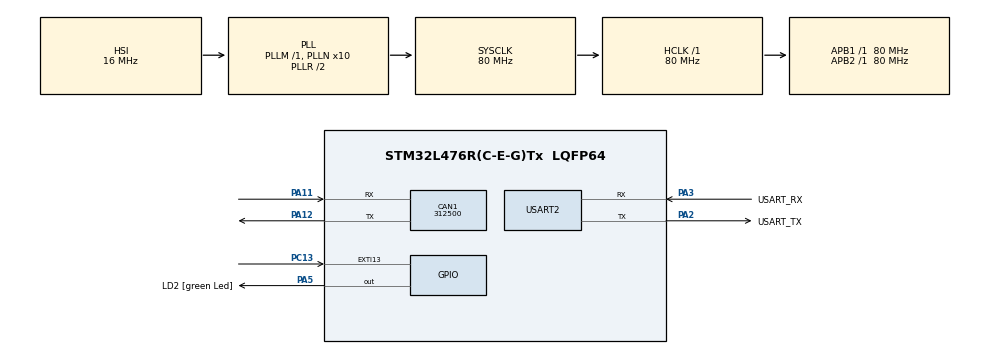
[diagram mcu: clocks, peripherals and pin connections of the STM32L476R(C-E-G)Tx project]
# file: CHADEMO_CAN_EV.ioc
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CAN1.BS1=CAN_BS1_13TQ
CAN1.BS2=CAN_BS2_2TQ
CAN1.CalculateBaudRate=312500
CAN1.CalculateTimeBit=3200
CAN1.CalculateTimeQuantum=200.0
Mcu.Family=STM32L4
Mcu.Name=STM32L476R(C-E-G)Tx
Mcu.Package=LQFP64
NVIC.CAN1_RX0_IRQn=true\:0\:0\:false\:false\:true\:true\:true\:true
NVIC.CAN1_RX1_IRQn=true\:0\:0\:false\:false\:true\:true\:true\:true
NVIC.CAN1_SCE_IRQn=true\:0\:0\:false\:false\:true\:true\:true\:true
NVIC.EXTI15_10_IRQn=true\:0\:0\:false\:false\:true\:true\:true\:true
NVIC.PriorityGroup=NVIC_PRIORITYGROUP_4
NVIC.USART2_IRQn=true\:0\:0\:false\:false\:true\:true\:true\:true
PA11.Mode=CAN_Activate
PA11.Signal=CAN1_RX
PA12.Mode=CAN_Activate
PA12.Signal=CAN1_TX
PA13\ (JTMS-SWDIO).GPIO_Label=TMS
PA13\ (JTMS-SWDIO).Mode=Serial_Wire
PA13\ (JTMS-SWDIO).Signal=SYS_JTMS-SWDIO
PA14\ (JTCK-SWCLK).GPIO_Label=TCK
PA14\ (JTCK-SWCLK).Mode=Serial_Wire
PA14\ (JTCK-SWCLK).Signal=SYS_JTCK-SWCLK
PA2.GPIO_Label=USART_TX
PA2.GPIO_Mode=GPIO_MODE_AF_PP
PA2.GPIO_PuPd=GPIO_NOPULL
PA2.GPIO_Speed=GPIO_SPEED_FREQ_VERY_HIGH
PA2.Mode=Asynchronous
PA2.Signal=USART2_TX
PA3.GPIO_Label=USART_RX
PA3.GPIO_Mode=GPIO_MODE_AF_PP
PA3.GPIO_PuPd=GPIO_NOPULL
PA3.GPIO_Speed=GPIO_SPEED_FREQ_VERY_HIGH
PA3.Mode=Asynchronous
PA3.Signal=USART2_RX
PA5.GPIO_Label=LD2 [green Led]
PA5.GPIO_ModeDefaultOutputPP=GPIO_MODE_OUTPUT_PP
PA5.GPIO_PuPd=GPIO_NOPULL
PA5.GPIO_Speed=GPIO_SPEED_FREQ_LOW
PA5.Signal=GPIO_Output
PB3\ (JTDO-TRACESWO).GPIO_Label=SWO
PB3\ (JTDO-TRACESWO).Signal=SYS_JTDO-SWO
PC13.GPIO_ModeDefaultEXTI=GPIO_MODE_IT_RISING
PC13.Signal=GPXTI13
PC14-OSC32_IN\ (PC14).Mode=LSE-External-Oscillator
PC14-OSC32_IN\ (PC14).Signal=RCC_OSC32_IN
PC15-OSC32_OUT\ (PC15).Mode=LSE-External-Oscillator
PC15-OSC32_OUT\ (PC15).Signal=RCC_OSC32_OUT
PH0-OSC_IN\ (PH0).Signal=RCC_OSC_IN
PH1-OSC_OUT\ (PH1).Signal=RCC_OSC_OUT
ProjectManager.HeapSize=0x200
ProjectManager.StackSize=0x400
ProjectManager.TargetToolchain=STM32CubeIDE
RCC.ADCFreq_Value=64000000
RCC.AHBFreq_Value=80000000
RCC.APB1Freq_Value=80000000
RCC.APB1TimFreq_Value=80000000
RCC.APB2Freq_Value=80000000
RCC.APB2TimFreq_Value=80000000
RCC.CortexFreq_Value=80000000
RCC.HCLKFreq_Value=80000000
RCC.HSE_VALUE=8000000
RCC.HSI_VALUE=16000000
RCC.MSI_VALUE=4000000
RCC.PLLN=10
RCC.PLLSourceVirtual=RCC_PLLSOURCE_HSI
RCC.PREFETCH_ENABLE=1
RCC.SYSCLKFreq_VALUE=80000000
RCC.SYSCLKSource=RCC_SYSCLKSOURCE_PLLCLK
RCC.USBFreq_Value=64000000
RCC.VCOOutputFreq_Value=160000000
USART2.VirtualMode-Asynchronous=VM_ASYNC
board=NUCLEO-L476RG

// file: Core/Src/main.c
/* USER CODE BEGIN Header */
/**
  ******************************************************************************
  * @file           : main.c
  * @brief          : Main program body
  ******************************************************************************
  * @attention
  *
  * Copyright (c) 2026 STMicroelectronics.
  * All rights reserved.
  *
  * This software is licensed under terms that can be found in the LICENSE file
  * in the root directory of this software component.
  * If no LICENSE file comes with this software, it is provided AS-IS.
  *
  ******************************************************************************
  */
/* USER CODE END Header */
#include "main.h"
#include "can.h"
#include "usart.h"
#include "gpio.h"

/* USER CODE BEGIN Includes */
#include <stdio.h>
#include<stdlib.h>
#include <string.h>
/* USER CODE END Includes */

/* USER CODE BEGIN PV */
//Parametre de la borne
uint16_t Available_output_voltage_min;      // V
uint16_t Available_output_voltage_max;      // V
uint16_t Available_output_voltage;      // V
uint16_t Threshold_voltage;  //V
uint16_t Available_output_current_min;      // A
uint16_t Available_output_current_max;
uint16_t Available_output_current=0;  //
uint16_t Present_output_current;
uint16_t Present_output_voltage;

uint8_t Battery_incompatibility =0;
uint8_t Welding_detection =1;
volatile uint8_t can_rx_flag = 0;
//uint8_t rxData[32];
uint8_t rxbuf[255];
uint8_t txbuf[255];
// differentes états
typedef enum
{
    EV_STATE_IDLE = 0,
    EV_STATE_CABLE_DETECTED,
    EV_STATE_HANDSHAKE,
    EV_STATE_PRECHARGE,
    EV_STATE_CHARGING,
    EV_STATE_STOP

} EV_State_t;
EV_State_t ev_state = EV_STATE_IDLE;
//Parametre de la voiture
uint16_t battery_voltage_min = 0;      // V
uint16_t battery_voltage_max = 600;      // V
uint16_t battery_voltage = 360;      // V
uint16_t requested_current_max=200; // A
uint16_t requested_current;      // A
uint8_t soc=50;               // %
uint8_t charger_ready = 0;

uint8_t Maximum_charging_time;
uint8_t Estimated_charging_time;
uint16_t Total_capacity_of_battery;
uint16_t Target_battery_voltage;

uint8_t Battery_voltage_deviation_error =0;
uint8_t High_battery_temperature =0;
uint8_t Battery_current_deviation_error = 0;
uint8_t Battery_undervoltage =0;
uint8_t Battery_overvoltage =0;

uint8_t Normal_stop_request=0;
uint8_t Vehicle_status=0;
uint8_t Charging_system_error=0;
uint8_t Vehicle_shift_position=1;
uint8_t Vehicle_charging_enabled=0;

uint8_t Charging_stop_control = 1; // 0: operating, 1: during stop control or stop condition
uint8_t Energizing_state = 0;      // 0: disable, 1: enable
uint8_t Charger_error = 0;         // 0: normal, 1: error
uint8_t Charger_status = 0;		   // 0: standby, 1: charging
uint8_t Remaining_charging_time =0; // in the unit of 1 min

int Cable_Detected=0;

// Ajout des flags et buffers pour le traitement hors ISR
volatile uint8_t flag_msg_108 = 0;
volatile uint8_t flag_msg_109 = 0;
uint8_t rxData_108[8];
uint8_t rxData_109[8];

/* USER CODE END PV */

void SystemClock_Config(void);
/* USER CODE BEGIN PFP */
void CAN_Filter_Config(void);
void HAL_CAN_RxFifo0MsgPendingCallback(CAN_HandleTypeDef *hcan);
void HAL_GPIO_EXTI_Callback(uint16_t GPIO_Pin);
void EV_send_parameters(uint16_t requested_current,uint16_t battery_voltage_min, uint16_t battery_voltage_max, uint8_t soc);
void EV_charge_time_soc(uint8_t Maximum_charging_time,uint8_t Estimated_charging_time, uint16_t Total_capacity_of_battery);
void EV_charge_control(void);
void EV_StateMachine(void);
void traitement_msg_108(void);
void traitement_msg_109(void);
/* USER CODE END PFP */

/* USER CODE BEGIN 0 */
/* ----------------------------------------------------------
   STATION CAPABILITY LIMITS
   Battery MC checks MSG108 against these
   ---------------------------------------------------------- */
#define STATION_MAX_VOLTAGE   420
#define STATION_MIN_VOLTAGE   200
#define STATION_MAX_CURRENT   100

/* ----------------------------------------------------------
   UART RX — interrupt driven
   ---------------------------------------------------------- */
#define RX_BUF_SIZE 128

static uint8_t          rx_byte;
static char             rx_buf[RX_BUF_SIZE];
static uint16_t         rx_idx        = 0;
static char             rx_line[RX_BUF_SIZE];
static volatile uint8_t rx_line_ready = 0;

void UART_RX_Start(void)
{
    rx_idx        = 0;
    rx_line_ready = 0;
    HAL_UART_Receive_IT(&huart2, &rx_byte, 1);
}

void HAL_UART_RxCpltCallback(UART_HandleTypeDef *huart)
{
    if (huart->Instance != USART2) return;

    char c = (char)rx_byte;

    if (c == '\n')
    {
        if (rx_idx > 0 && rx_buf[rx_idx - 1] == '\r')
            rx_idx--;
        rx_buf[rx_idx] = '\0';
        strncpy(rx_line, rx_buf, RX_BUF_SIZE - 1);
        rx_line[RX_BUF_SIZE - 1] = '\0';
        rx_idx        = 0;
        rx_line_ready = 1;
    }
    else
    {
        if (rx_idx < RX_BUF_SIZE - 1)
            rx_buf[rx_idx++] = c;
    }

    HAL_UART_Receive_IT(&huart2, &rx_byte, 1);
}

/* ----------------------------------------------------------
   TX helper
   ---------------------------------------------------------- */
void UART_Send(const char *msg)
{
    HAL_UART_Transmit(&huart2, (uint8_t *)msg, strlen(msg), 100);
}

/* ----------------------------------------------------------
   Parser helper — returns the Nth comma-separated integer
   after the ':' in a message like "MSG100:5,280,400,0"
   ---------------------------------------------------------- */
static int get_field(const char *line, int index)
{
    const char *p = strchr(line, ':');
    if (!p) return 0;
    p++;
    for (int i = 0; i < index; i++)
    {
        p = strchr(p, ',');
        if (!p) return 0;
        p++;
    }
    return atoi(p);
}

/* ----------------------------------------------------------
   Wait for a complete line from UART
   Blocks until rx_line_ready is set by the interrupt
   ---------------------------------------------------------- */
static void wait_for_line(char *out)
{
    while (!rx_line_ready) { HAL_Delay(1); }

    __disable_irq();
    strncpy(out, rx_line, RX_BUF_SIZE - 1);
    out[RX_BUF_SIZE - 1] = '\0';
    rx_line_ready = 0;
    __enable_irq();
}

/* ----------------------------------------------------------
   CAN HELPER — Send a CAN frame
   ---------------------------------------------------------- */
static void CAN_Send_Frame(uint32_t id, uint8_t *data, uint8_t len)
{
    CAN_TxHeaderTypeDef tx_header;
    uint32_t tx_mailbox;

    tx_header.StdId = id;
    tx_header.IDE   = CAN_ID_STD;
    tx_header.RTR   = CAN_RTR_DATA;
    tx_header.DLC   = len;

    HAL_StatusTypeDef status = HAL_CAN_AddTxMessage(&hcan1, &tx_header, data, &tx_mailbox);

    if (status != HAL_OK)
    {
        UART_Send("[ERROR] CAN TX failed\r\n");
    }
}

/* ----------------------------------------------------------
   CAN HELPER — Wait and receive a CAN frame with specific ID
   Returns 1 if received, 0 if timeout (3 seconds)
   ---------------------------------------------------------- */
static uint8_t CAN_Wait_For_Frame(uint32_t expected_id, uint8_t *data_out, uint32_t timeout_ms)
{
    CAN_RxHeaderTypeDef rx_header;
    uint8_t rx_data[8] = {0};
    uint32_t start_tick = HAL_GetTick();

    while ((HAL_GetTick() - start_tick) < timeout_ms)
    {
        // Check if there's a message in FIFO0
        if (HAL_CAN_GetRxFifoFillLevel(&hcan1, CAN_RX_FIFO0) > 0)
        {
            if (HAL_CAN_GetRxMessage(&hcan1, CAN_RX_FIFO0, &rx_header, rx_data) == HAL_OK)
            {
                if (rx_header.StdId == expected_id)
                {
                    memcpy(data_out, rx_data, 8);
                    return 1;  // Success
                }
            }
        }
        HAL_Delay(10);  // Poll every 10ms
    }

    UART_Send("[ERROR] CAN RX timeout\r\n");
    return 0;  // Timeout
}

/* USER CODE END 0 */

int main(void)
{

  /* MCU Configuration--------------------------------------------------------*/

  /* Reset of all peripherals, Initializes the Flash interface and the Systick. */
  HAL_Init();

  /* Configure the system clock */
  SystemClock_Config();

  /* Initialize all configured peripherals */
  MX_GPIO_Init();
  MX_USART2_UART_Init();
  MX_CAN1_Init();
  /* USER CODE BEGIN 2 */
  CAN_Filter_Config();
  HAL_CAN_Start(&hcan1);
  HAL_CAN_ActivateNotification(&hcan1, CAN_IT_RX_FIFO0_MSG_PENDING);
  //sprintf((char*)rxbuf,"EV_STATE_IDLE\r\n");

  UART_RX_Start();

     /* ── Variables for MSG100 ── */
     int min_current = 0;
     int min_voltage = 0;
     int max_voltage = 0;
     int charge_rate = 0;

     /* ── Variables for MSG101 ── */
     int max_time_10s  = 0;
     int max_time_1min = 0;
     int est_time      = 0;
     int capacity      = 0;

     /* ── Variables for MSG108 (received from station MC via CAN) ── */
     int welding_id    = 0;
     int avail_voltage = 0;
     int avail_current = 0;
     int threshold_v   = 0;

     char line[RX_BUF_SIZE];
     uint8_t msg100_ok = 0;
     uint8_t msg101_ok = 0;

  /* USER CODE END 2 */

  /* Infinite loop */
  /* USER CODE BEGIN WHILE */
     while (1)
     {
       /* ======================================================
          PHASE 1 — Receive MSG100 and MSG101 from simulator
          ====================================================== */

       msg100_ok = 0;
       msg101_ok = 0;

       while (!msg100_ok || !msg101_ok)
       {
    	  HAL_GPIO_TogglePin(LD2_GPIO_Port, LD2_Pin);
    	  HAL_Delay(10);
    	  HAL_GPIO_TogglePin(LD2_GPIO_Port, LD2_Pin);

    	  wait_for_line(line);// ajouter un delais pour sortir de la fonction blocante

         /* ── Parse MSG100 ───────────────────────────────── */
         if (!msg100_ok && strncmp(line, "MSG100:", 7) == 0)
         {
           min_current = get_field(line, 0);
           min_voltage = get_field(line, 1);
           max_voltage = get_field(line, 2);
           charge_rate = get_field(line, 3);

           msg100_ok = 1;

           EV_send_parameters(min_current, min_voltage, max_voltage, charge_rate);

           while (!flag_msg_108)
           {
             HAL_Delay(1);
           }

           //if (flag_msg_108)
          // {
             traitement_msg_108();

          // }
             while (!flag_msg_109)
                        {
                          HAL_Delay(1);
                        }
             traitement_msg_109();
         }

         /* ── Parse MSG101 ───────────────────────────────── */
         if (!msg101_ok && strncmp(line, "MSG101:", 7) == 0)
         {
           max_time_10s = get_field(line, 0);
           max_time_1min = get_field(line, 1);
           est_time = get_field(line, 2);
           capacity = get_field(line, 3);

           msg101_ok = 1;

           EV_charge_time_soc(max_time_1min, est_time, capacity);

           while (!flag_msg_109)
           {
             HAL_Delay(1);
           }

           if (flag_msg_109)
           {
             traitement_msg_109();
             flag_msg_109 = 0;

           }
         }
       }

       /* ======================================================
          Compatibility check
          ====================================================== */

      /* if (Available_output_voltage >= battery_voltage_max &&
           Available_output_current >= requested_current &&
           Threshold_voltage <= battery_voltage_max)
       {
         UART_Send("ACK:COMPATIBLE\r\n");
       }
       else
       {
         UART_Send("ACK:INCOMPATIBLE\r\n");
         continue;
       }*/

       /* ======================================================
          PHASE 2 — Wait for MSG102 from simulator
          ====================================================== */

       uint8_t charging_active = !charger_ready;
       /*int flag_msg102=0;
       while(!flag_msg102)
       {

       wait_for_line(line);
       UART_Send("wait msg102 out the While\r\n");
                if (strncmp(line, "MSG102:", 7) == 0)
                {
                	flag_msg102=1;
                  Target_battery_voltage = get_field(line, 0);
                  requested_current = get_field(line, 1);
                  soc = get_field(line, 2);
                  Battery_voltage_deviation_error = get_field(line, 3);
                  Vehicle_charging_enabled = get_field(line, 4);
                  Normal_stop_request = get_field(line, 5);

                  EV_charge_control();
                  UART_Send("msg102 sent\r\n");
                }

       }*/
       while (charger_ready)
       {

         UART_Send("wait for msg102 in the while\r\n");
    	   wait_for_line(line);

         if (strncmp(line, "MSG102:", 7) == 0)
         {

           Target_battery_voltage = get_field(line, 0);
           requested_current = get_field(line, 1);
           soc = get_field(line, 2);
           Battery_voltage_deviation_error = get_field(line, 3);
           Vehicle_charging_enabled = get_field(line, 4);
           Normal_stop_request = get_field(line, 5);

           EV_charge_control();
           UART_Send("msg102 sent\r\n");

           while (!flag_msg_109)
           {
             HAL_Delay(1);
           }

           if (flag_msg_109)
           {
             traitement_msg_109();

           }
         }
           if (Normal_stop_request == 1 || soc == 100)
           {
             charging_active = 0;
             requested_current = 0;
             EV_charge_control();
             while (!flag_msg_109)
                      {
                        HAL_Delay(1);
                      }

                      if (flag_msg_109)
                      {
                        traitement_msg_109();

                      }
           }

       }
     }
}
void SystemClock_Config(void)
{
  RCC_OscInitTypeDef RCC_OscInitStruct = {0};
  RCC_ClkInitTypeDef RCC_ClkInitStruct = {0};

  /** Configure the main internal regulator output voltage
  */
  if (HAL_PWREx_ControlVoltageScaling(PWR_REGULATOR_VOLTAGE_SCALE1) != HAL_OK)
  {
    Error_Handler();
  }

  /** Initializes the RCC Oscillators according to the specified parameters
  * in the RCC_OscInitTypeDef structure.
  */
  RCC_OscInitStruct.OscillatorType = RCC_OSCILLATORTYPE_HSI;
  RCC_OscInitStruct.HSIState = RCC_HSI_ON;
  RCC_OscInitStruct.HSICalibrationValue = RCC_HSICALIBRATION_DEFAULT;
  RCC_OscInitStruct.PLL.PLLState = RCC_PLL_ON;
  RCC_OscInitStruct.PLL.PLLSource = RCC_PLLSOURCE_HSI;
  RCC_OscInitStruct.PLL.PLLM = 1;
  RCC_OscInitStruct.PLL.PLLN = 10;
  RCC_OscInitStruct.PLL.PLLP = RCC_PLLP_DIV7;
  RCC_OscInitStruct.PLL.PLLQ = RCC_PLLQ_DIV2;
  RCC_OscInitStruct.PLL.PLLR = RCC_PLLR_DIV2;
  if (HAL_RCC_OscConfig(&RCC_OscInitStruct) != HAL_OK)
  {
    Error_Handler();
  }

  /** Initializes the CPU, AHB and APB buses clocks
  */
  RCC_ClkInitStruct.ClockType = RCC_CLOCKTYPE_HCLK|RCC_CLOCKTYPE_SYSCLK
                              |RCC_CLOCKTYPE_PCLK1|RCC_CLOCKTYPE_PCLK2;
  RCC_ClkInitStruct.SYSCLKSource = RCC_SYSCLKSOURCE_PLLCLK;
  RCC_ClkInitStruct.AHBCLKDivider = RCC_SYSCLK_DIV1;
  RCC_ClkInitStruct.APB1CLKDivider = RCC_HCLK_DIV1;
  RCC_ClkInitStruct.APB2CLKDivider = RCC_HCLK_DIV1;

  if (HAL_RCC_ClockConfig(&RCC_ClkInitStruct, FLASH_LATENCY_4) != HAL_OK)
  {
    Error_Handler();
  }
}

/* USER CODE BEGIN 4 */
void CAN_Filter_Config(void)
{
  CAN_FilterTypeDef filter;

  filter.FilterActivation = ENABLE;
  filter.FilterBank = 0;
  filter.FilterFIFOAssignment = CAN_FILTER_FIFO0;
  filter.FilterMode = CAN_FILTERMODE_IDMASK;
  filter.FilterScale = CAN_FILTERSCALE_32BIT;
  filter.FilterIdHigh = 0x0000;
  filter.FilterIdLow = 0x0000;
  filter.FilterMaskIdHigh = 0x0000;
  filter.FilterMaskIdLow = 0x0000;

  HAL_CAN_ConfigFilter(&hcan1, &filter);
}
//EV_send_parameters() permet d'envoyer les paramétres de charge de la batterie avec l'ID 0x100
void EV_send_parameters(uint16_t requested_current,uint16_t battery_voltage_min, uint16_t battery_voltage_max, uint8_t soc)
{
		CAN_TxHeaderTypeDef txHeader;
	    uint8_t txData[8];
	    uint32_t txMailbox;

	    txHeader.StdId = 0x100;
	    txHeader.IDE = CAN_ID_STD;
	    txHeader.RTR = CAN_RTR_DATA;
	    txHeader.DLC = 8;

	    txData[0] = (requested_current & 0xFF); //charge current
	    txData[1] = 0x00;//not used

	    txData[2] = (battery_voltage_min & 0xFF); // LSB minimum battery voltage
	    txData[3] = (battery_voltage_min >> 8);// MSB minimum battery voltage

	    txData[4] = (battery_voltage_max & 0xFF); // LSB maximum battery voltage
	    txData[5] = (battery_voltage_max >> 8);// MSB maximum battery voltage
	    txData[6] = soc;//Charged rete reference constant %_
	    txData[7] = 0x00; //not used

	    if(HAL_CAN_AddTxMessage(&hcan1, &txHeader, txData, &txMailbox) == HAL_OK)
	        {

	        	//HAL_GPIO_TogglePin(LD2_GPIO_Port, LD2_Pin);
	        	//HAL_Delay(10);
	        	//HAL_GPIO_TogglePin(LD2_GPIO_Port, LD2_Pin);
	        }
}
void EV_charge_time_soc(uint8_t Maximum_charging_time,uint8_t Estimated_charging_time, uint16_t Total_capacity_of_battery)
{
	CAN_TxHeaderTypeDef txHeader;
		    uint8_t txData[8];
		    uint32_t txMailbox;

		    txHeader.StdId = 0x101;
		    txHeader.IDE = CAN_ID_STD;
		    txHeader.RTR = CAN_RTR_DATA;
		    txHeader.DLC = 8;

		    txData[0] = 0x00;//not used
		    txData[1] = 0xFF;//not used

		    txData[2] = (Maximum_charging_time & 0xFF); // en minute
		    txData[3] = (Estimated_charging_time & 0xFF);// en minute
		    txData[4] = 0x00; //not used
		    txData[5] = (Total_capacity_of_battery & 0xFF);// unit 0.1 kWh LSB
		    txData[6] = (Total_capacity_of_battery >> 8);// MSB
		    txData[7] = 0x00; //not used

		    if(HAL_CAN_AddTxMessage(&hcan1, &txHeader, txData, &txMailbox) == HAL_OK)
		        {

		        	/*HAL_GPIO_TogglePin(LD2_GPIO_Port, LD2_Pin);
		        	HAL_Delay(10);
		        	HAL_GPIO_TogglePin(LD2_GPIO_Port, LD2_Pin);*/
		        }
}
void EV_charge_control(void)
{
	CAN_TxHeaderTypeDef txHeader;
			    uint8_t txData[8];
			    uint32_t txMailbox;

	 txHeader.StdId = 0x102;
	 txHeader.IDE = CAN_ID_STD;
	 txHeader.RTR = CAN_RTR_DATA;
	 txHeader.DLC = 8;

	 txData[0] = 0x03;//ChadeMo protocol ver.2.0
	 txData[1] = Target_battery_voltage & 0xFF;
	 txData[2] = Target_battery_voltage >> 8;
	 txData[3] = requested_current  & 0xFF;// Charging_current_request
	 txData[4] = ((Battery_voltage_deviation_error << 4) | High_battery_temperature <<3 |  Battery_current_deviation_error << 2 | Battery_undervoltage <<1 | Battery_overvoltage);
	 txData[5] = (Normal_stop_request<<4 | Vehicle_status<<3 | Charging_system_error<<2 | Vehicle_shift_position<<1 | Vehicle_charging_enabled );
	 txData[6] = soc;
	 txData[7] = 0x00; //not used

	 if(HAL_CAN_AddTxMessage(&hcan1, &txHeader, txData, &txMailbox) == HAL_OK)
	 {

		 HAL_GPIO_TogglePin(LD2_GPIO_Port, LD2_Pin);
		 //HAL_Delay(10);

	 }
}

void HAL_GPIO_EXTI_Callback(uint16_t GPIO_Pin)
{
	Cable_Detected=1;
	Normal_stop_request=1;
}

void HAL_CAN_RxFifo0MsgPendingCallback(CAN_HandleTypeDef *hcan)
{
    CAN_RxHeaderTypeDef rxHeader;
    uint8_t tmpData[8];
           //HAL_GPIO_TogglePin(LD2_GPIO_Port, LD2_Pin);
           if(HAL_CAN_GetRxMessage(hcan, CAN_RX_FIFO0, &rxHeader, tmpData)==HAL_OK)
           {
           	if (rxHeader.StdId == 0x108)
           	        {
           	            // Copie des données et levée du flag — aucun traitement ici
           	            memcpy(rxData_108, tmpData, 8);
           	            flag_msg_108 = 1;
           	        }
           	if (rxHeader.StdId == 0x109)
           	        {
           	            memcpy(rxData_109, tmpData, 8);
           	            flag_msg_109 = 1;
           	        }
           	if (rxHeader.StdId == 0x7FF)
           	{
           	    UART_Send("RESET\r\n");
           	    HAL_Delay(10);           // give UART time to finish transmitting
           	    HAL_NVIC_SystemReset();  // full chip reset — cleans everything
           	}
           }
}

void traitement_msg_108(void)
{
	if(flag_msg_108) // Message de la voiture pour les parametres de charge
		     {
			 	 flag_msg_108 = 0;
			     //charger_ready = rxData[4];
		         Welding_detection = rxData_108[0] ;
		         Available_output_voltage =rxData_108[1] | (rxData_108[2]<<8);
		         Available_output_current =rxData_108[3];
		         Threshold_voltage = rxData_108[4] |  rxData_108[5]<<8;
		         	 	 	/* sprintf((char*)rxbuf,"Welding_detection %d \r\n",Welding_detection);
		                     HAL_UART_Transmit(&huart2, rxbuf, strlen((char*)rxbuf), 10);
		                     sprintf((char*)rxbuf,"Available_output_voltage %d V\r\n",Available_output_voltage);
		                     HAL_UART_Transmit(&huart2, rxbuf, strlen((char*)rxbuf), 10);
		                     sprintf((char*)rxbuf,"Available_output_current %d A\r\n",Available_output_current);
		                     HAL_UART_Transmit(&huart2, rxbuf, strlen((char*)rxbuf), 10);
		                     sprintf((char*)rxbuf,"Threshold_voltage %d\r\n",Threshold_voltage);
		                     HAL_UART_Transmit(&huart2, rxbuf, strlen((char*)rxbuf), 10);*/

		      }
	sprintf((char*)txbuf,
			"MSG108:%d,%d,%d,%d\r\n",
			Welding_detection,
			Available_output_voltage,Available_output_current,Threshold_voltage);

	HAL_UART_Transmit(&huart2, txbuf, strlen((char*)txbuf), 100);

}
void traitement_msg_109(void)
{
	if(flag_msg_109)
			 {
				 flag_msg_109 = 0;

				 charger_ready=rxData_109[5] & 0x01;   // 0: standby, 1: charging
				 Charger_error = (rxData_109[5] & (1<<1))>>1;         // 0: normal, 1: error
				 Energizing_state = (rxData_109[5] & (1<<2))>>2;// 0: disable, 1: enable
				 Battery_incompatibility=(rxData_109[5] & (1<<3))>>3;
				 Charging_system_error = (rxData_109[5] & (1<<4))>>4; // 0: normal, 1: error
				 Charging_stop_control = (rxData_109[5] & (1<<5))>>5; // 0: operating, 1: during stop control or stop condition

				 Remaining_charging_time =rxData_109[7]; // in the unit of 1 min
				 Present_output_voltage = rxData_109[1] | (rxData_109[2] << 8); //  present ouput voltage
				 Present_output_current = rxData_109[3];// present charging current

				 //MSG109:protocol_num,present_voltage,present_current,status_fault,remaining_10s,remaining_1min
				 //MSG109:protocol,pres_v,pres_i,fault,remaining_10s,remaining_1min,incompat
				 sprintf((char*)txbuf,
						 "MSG109:%d,%d,%d,%d,%d,%d,%d\r\n",
						 rxData_109[0],Present_output_voltage,Present_output_current,
						 charger_ready,rxData_109[6],Remaining_charging_time,Battery_incompatibility);

				 HAL_UART_Transmit(&huart2, txbuf, strlen((char*)txbuf), 100);

			 }
}
void EV_StateMachine(void)
{

    switch(ev_state)
    {
        case EV_STATE_IDLE:
        	HAL_UART_Transmit(&huart2, rxbuf, strlen((char*)rxbuf), 1000);
            if(Cable_Detected)
            {

            	Cable_Detected=0;
                ev_state = EV_STATE_CABLE_DETECTED;
                sprintf((char*)rxbuf,"EV_STATE_CABLE_DETECTED\r\n");
                //HAL_Delay(1000);
            }

        break;

        case EV_STATE_CABLE_DETECTED:
        	HAL_UART_Transmit(&huart2, rxbuf, strlen((char*)rxbuf), 1000);
        	HAL_Delay(1000);
            requested_current = 0;
            //EV_send_parameters();
            ev_state = EV_STATE_HANDSHAKE;
            sprintf((char*)rxbuf,"EV_STATE_HANDSHAKE\r\n");
        break;

        case EV_STATE_HANDSHAKE:
        	HAL_UART_Transmit(&huart2, rxbuf, strlen((char*)rxbuf), 1000);
        	HAL_Delay(1000);

            if(!Battery_incompatibility && !charger_ready)
            {
            	EV_charge_control();
            	ev_state = EV_STATE_PRECHARGE;
                sprintf((char*)rxbuf,"EV_STATE_PRECHARGE\r\n");
            }
            //EV_charge_time_soc();

        break;

        case EV_STATE_PRECHARGE:
        	HAL_UART_Transmit(&huart2, rxbuf, strlen((char*)rxbuf), 1000);
        	HAL_Delay(1000);
            if(battery_voltage > 300)
            {
                ev_state = EV_STATE_CHARGING;
                sprintf((char*)rxbuf,"EV_STATE_CHARGING\r\n");
            }
            EV_charge_control();
        break;

        case EV_STATE_CHARGING:
        	HAL_UART_Transmit(&huart2, rxbuf, strlen((char*)rxbuf), 1000);
            requested_current = 100;  // 100A example
            HAL_Delay(1000);
            soc += 10;
            EV_charge_control();

            if(soc >= 100)
            {
                ev_state = EV_STATE_STOP;
                sprintf((char*)rxbuf,"EV_STATE_STOP\r\n");
            }
        break;

        case EV_STATE_STOP:
        	HAL_UART_Transmit(&huart2, rxbuf, strlen((char*)rxbuf), 1000);
        	HAL_Delay(1000);
            requested_current = 0;
            EV_charge_control();
            ev_state = EV_STATE_IDLE;
            sprintf((char*)rxbuf,"EV_STATE_IDLE\r\n");
        break;
    }
}
/* USER CODE END 4 */

void Error_Handler(void)
{
  __disable_irq();
  while (1)
  {
  }
}
